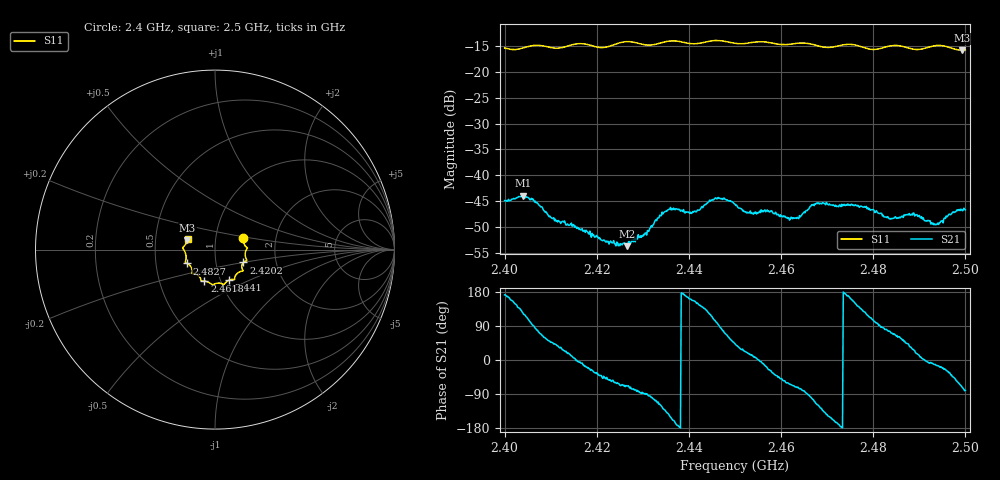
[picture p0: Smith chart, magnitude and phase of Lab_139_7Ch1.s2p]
# Hz S RI R 50
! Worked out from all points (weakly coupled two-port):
!   601 points, 2.4 GHz to 2.5 GHz, reference 50 ohm
!   highest |S21| = -43.98 dB at 2.404 GHz (marker M1); lowest = -53.8 dB at 2.4267 GHz (marker M2)
!   lowest |S11| = -15.8 dB at 2.4993 GHz (marker M3), VSWR 1.39, Z = 36.5 + j3.85 ohm
!   |S11| at or under -10 dB: start of sweep to end of sweep
!   S12 and S22 are empty: the file has one direction only
!   S11 on the Smith chart (normalised r, x): 2.4 GHz: 1.36, +0.18; 2.4202 GHz: 1.36, -0.20; 2.441 GHz: 1.10, -0.39; 2.4618 GHz: 0.84, -0.30; 2.4827 GHz: 0.72, -0.12; 2.5 GHz: 0.73, +0.09
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2.4e9  0.1583 0.0627  -0.00561 0.000804  0 0  0 0
2.404e9  0.1693 0.0196  -0.0035 0.00526  0 0  0 0
2.411e9  0.169 -0.0164  0.0028 0.00248  0 0  0 0
2.416667e9  0.1776 -0.0607  0.00293 -0.000436  0 0  0 0
2.420167e9  0.1582 -0.0715  0.00196 -0.00153  0 0  0 0
2.426667e9  0.1566 -0.1184  0.000751 -0.00191  0 0  0 0
2.430833e9  0.1282 -0.1295  5.33e-05 -0.00263  0 0  0 0
2.433333e9  0.1116 -0.1509  -0.00139 -0.0036  0 0  0 0
2.436167e9  0.1092 -0.1667  -0.0041 -0.00209  0 0  0 0
2.441e9  0.0785 -0.1698  -0.00403 0.00174  0 0  0 0
2.446e9  0.0501 -0.1949  -0.000946 0.00582  0 0  0 0
2.45e9  0.0284 -0.187  0.00386 0.00352  0 0  0 0
2.4525e9  0.00359 -0.189  0.00404 0.00149  0 0  0 0
2.461833e9  -0.0594 -0.1754  0.00163 -0.00328  0 0  0 0
2.466667e9  -0.0783 -0.1683  -0.001 -0.00507  0 0  0 0
2.475667e9  -0.1275 -0.1321  -0.00465 0.00219  0 0  0 0
2.482667e9  -0.156 -0.0773  0.000647 0.00387  0 0  0 0
2.483333e9  -0.1603 -0.0753  0.000947 0.00372  0 0  0 0
2.489e9  -0.1611 -0.037  0.00366 0.00167  0 0  0 0
2.493667e9  -0.1798 0.00756  0.00321 -0.000815  0 0  0 0
2.499333e9  -0.1539 0.0513  0.00136 -0.00432  0 0  0 0
2.5e9  -0.1522 0.0609  0.000771 -0.00454  0 0  0 0
